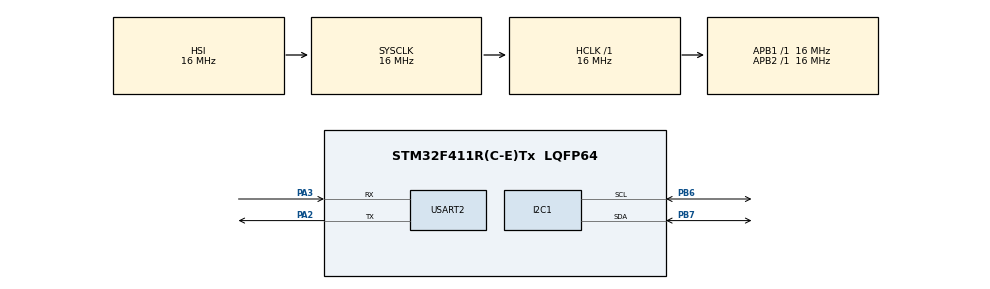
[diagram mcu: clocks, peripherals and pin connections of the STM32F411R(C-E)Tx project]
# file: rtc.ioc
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Mcu.Family=STM32F4
Mcu.Name=STM32F411R(C-E)Tx
Mcu.Package=LQFP64
NVIC.PriorityGroup=NVIC_PRIORITYGROUP_4
NVIC.USART2_IRQn=true\:0\:0\:false\:false\:true\:true\:true\:true
PA2.Mode=Asynchronous
PA2.Signal=USART2_TX
PA3.Mode=Asynchronous
PA3.Signal=USART2_RX
PB6.GPIO_Pu=GPIO_PULLUP
PB6.Mode=I2C
PB6.Signal=I2C1_SCL
PB7.GPIO_Pu=GPIO_PULLUP
PB7.Mode=I2C
PB7.Signal=I2C1_SDA
ProjectManager.HeapSize=0x200
ProjectManager.StackSize=0x400
ProjectManager.TargetToolchain=STM32CubeIDE
RCC.AHBFreq_Value=16000000
RCC.APB1Freq_Value=16000000
RCC.APB2Freq_Value=16000000
RCC.CortexFreq_Value=16000000
RCC.HSE_VALUE=25000000
RCC.HSI_VALUE=16000000
RCC.LSE_VALUE=32768
RCC.SYSCLKFreq_VALUE=16000000
RCC.VCOOutputFreq_Value=192000000
USART2.VirtualMode=VM_ASYNC
board=custom

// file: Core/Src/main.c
/* USER CODE BEGIN Header */
/**
  ******************************************************************************
  * @file           : main.c
  * @brief          : Main program body
  ******************************************************************************
  * @attention
  *
  * Copyright (c) 2024 STMicroelectronics.
  * All rights reserved.
  *
  * This software is licensed under terms that can be found in the LICENSE file
  * in the root directory of this software component.
  * If no LICENSE file comes with this software, it is provided AS-IS.
  *
  ******************************************************************************
  */
/* USER CODE END Header */
#include "main.h"

/* USER CODE BEGIN Includes */
#include "uart.h"
/* USER CODE END Includes */

I2C_HandleTypeDef hi2c1;

UART_HandleTypeDef huart2;

void SystemClock_Config(void);
static void MX_GPIO_Init(void);
static void MX_I2C1_Init(void);
static void MX_USART2_UART_Init(void);

/* USER CODE BEGIN 0 */
uint8_t BCD2Decimal(uint8_t inData) {
	uint8_t upper = inData >> 4;		//	상위 bit
	uint8_t lower = inData & 0x0f;		//	하위 bit
	return upper * 10 + lower;
}

uint8_t Decimal2BCD(uint8_t inData) {
	uint8_t upper = inData / 10;
	uint8_t lower = inData % 10;
	return upper << 4 | lower;
}

typedef struct {
	uint8_t		year;
	uint8_t		month;
	uint8_t		date;
	uint8_t		day;
	uint8_t		hour;
	uint8_t		min;
	uint8_t		sec;
}DateTime_t;

#define READ								1
#define RTC_ADD						0xD0
#define ROM_ADD					0xA0
#define MagicNumber		0x257fad1e
// 이 장치가 처음 만들어진 장치인지 아닌지 알아내는 방법
//	magicnumber를 key 값으로 사용해 같으면 처음 만들어진 장치, 다르다면 이미 기존에 사용하던 장치

//	EEPROM Map Table ▶ 왜 작성해야 하나?
#define	eeMagicNumberBase		0
#define	eeMagicNumberSize		4

void setRTC(DateTime_t inData)		{
	uint8_t txBuffer[8];
	txBuffer[7] = Decimal2BCD(inData.year);
	txBuffer[6] = Decimal2BCD(inData.month);
	txBuffer[5] = Decimal2BCD(inData.date);
	txBuffer[3] = Decimal2BCD(inData.hour);
	txBuffer[2] = Decimal2BCD(inData.min);
	txBuffer[1] = Decimal2BCD(inData.sec);
	txBuffer[0] = 0;		// 시작 Address
	HAL_I2C_Master_Transmit(&hi2c1, RTC_ADD, txBuffer, sizeof(txBuffer), 10);
}

DateTime_t getRTC()	{
	DateTime_t result;
	uint8_t	rxBuffer[7];
	uint8_t	address = 0;
	HAL_I2C_Master_Transmit(&hi2c1, RTC_ADD, &address, 1, 10);				 // 시작 Address setting
	HAL_I2C_Master_Receive(&hi2c1, RTC_ADD | READ, rxBuffer, 7, 10);
	result.year = BCD2Decimal(rxBuffer[6]);
	result.month = BCD2Decimal(rxBuffer[5]);
	result.date = BCD2Decimal(rxBuffer[4]);
	result.hour = BCD2Decimal(rxBuffer[2]);
	result.min = BCD2Decimal(rxBuffer[1]);
	result.sec = BCD2Decimal(rxBuffer[0]);
	return result;
}

//  RAM 영역의 데이터를 Write
//  0x80 ~ 0x3F(56개) 사이의 값을 가져야 함
//	Address = 0 ~ 0x37(55개)
void writeRAM(uint8_t address, uint8_t data)	{
	HAL_I2C_Mem_Write(&hi2c1, RTC_ADD, address, 1, &data, 1, 10);
	//	HAL_I2C_Mem_Write(hi2c, DevAddress, MemAddress, MemAddSize, pData, Size, Timeout)
	// , 장치 주소, 메모리 주소,
}

//  RAM 영역의 데이터를 Read
uint8_t readRAM(uint8_t address)	{
	uint8_t result;
	HAL_I2C_Mem_Read(&hi2c1, RTC_ADD, address, 1, &result, 1, 10);
	return result;
}

void writeEEPROM(uint16_t address, uint8_t data)  {
	// EEPROM 4K Byte (12bit)
	HAL_I2C_Mem_Write(&hi2c1, ROM_ADD, address, 2, &data, 1, 10);
	HAL_Delay(5);
}

uint16_t readEEPROM(uint16_t address, uint8_t data)  {
	uint16_t result;
	HAL_I2C_Mem_Read(&hi2c1, ROM_ADD, address, 2, &result, 1, 10);
	return result;
}

void write2ByteEEPROM(uint16_t address, uint16_t data) {
	HAL_I2C_Mem_Write(&hi2c1, ROM_ADD, address, 2, &data, 2, 10);
	HAL_Delay(10);
}

uint16_t read2ByteEEPROM(uint16_t address) {
	uint16_t result;
	HAL_I2C_Mem_Read(&hi2c1, ROM_ADD, address, 2, &result, 2, 10);
	return result;
}

void write4ByteEEPROM(uint16_t address, uint32_t data) {
	HAL_I2C_Mem_Write(&hi2c1, ROM_ADD, address, 2, &data, 4, 10);
	HAL_Delay(20);
}

uint32_t read4ByteEEPROM(uint16_t address) {
	uint32_t result;
	HAL_I2C_Mem_Read(&hi2c1, ROM_ADD, address, 2, &result, 4, 10);
	return result;
}
/* USER CODE END 0 */

int main(void)
{

  /* MCU Configuration--------------------------------------------------------*/

  /* Reset of all peripherals, Initializes the Flash interface and the Systick. */
  HAL_Init();

  /* Configure the system clock */
  SystemClock_Config();

  /* Initialize all configured peripherals */
  MX_GPIO_Init();
  MX_I2C1_Init();
  MX_USART2_UART_Init();
	/* USER CODE BEGIN 2 */

	initUart(&huart2);
	DateTime_t datetime;
	if(MagicNumber != read4ByteEEPROM(eeMagicNumberBase))	{
		// ▼ 초기 설정
		datetime.year		  =  24;
		datetime.month	=	3;
		datetime.date			=	29;
		datetime.hour		=	14;
		datetime.min			=	28;
		datetime.sec			=	0;
		setRTC(datetime);
		//	매직 넘버가 없다면, 매 초기화마다 이 시간으로 돌아올 것

		//	매직 넘버 기록
		write4ByteEEPROM(eeMagicNumberBase, MagicNumber);
		//	한 번 넣어주면, 두 번 다시 들어올 일이 없음
	}

	/* USER CODE END 2 */

	/* Infinite loop */
	/* USER CODE BEGIN WHILE */
	while (1) {
		datetime = getRTC();
		printf("20%02d-%02d-%02d %02d:%02d:%02d\n",
				datetime.year,
				datetime.month,
				datetime.date,
				datetime.hour,
				datetime.min,
				datetime.sec);
		HAL_Delay(1000);

    /* USER CODE END WHILE */

  }
}

void SystemClock_Config(void)
{
  RCC_OscInitTypeDef RCC_OscInitStruct = {0};
  RCC_ClkInitTypeDef RCC_ClkInitStruct = {0};

  /** Configure the main internal regulator output voltage
  */
  __HAL_RCC_PWR_CLK_ENABLE();
  __HAL_PWR_VOLTAGESCALING_CONFIG(PWR_REGULATOR_VOLTAGE_SCALE1);

  /** Initializes the RCC Oscillators according to the specified parameters
  * in the RCC_OscInitTypeDef structure.
  */
  RCC_OscInitStruct.OscillatorType = RCC_OSCILLATORTYPE_HSI;
  RCC_OscInitStruct.HSIState = RCC_HSI_ON;
  RCC_OscInitStruct.HSICalibrationValue = RCC_HSICALIBRATION_DEFAULT;
  RCC_OscInitStruct.PLL.PLLState = RCC_PLL_NONE;
  if (HAL_RCC_OscConfig(&RCC_OscInitStruct) != HAL_OK)
  {
    Error_Handler();
  }

  /** Initializes the CPU, AHB and APB buses clocks
  */
  RCC_ClkInitStruct.ClockType = RCC_CLOCKTYPE_HCLK|RCC_CLOCKTYPE_SYSCLK
                              |RCC_CLOCKTYPE_PCLK1|RCC_CLOCKTYPE_PCLK2;
  RCC_ClkInitStruct.SYSCLKSource = RCC_SYSCLKSOURCE_HSI;
  RCC_ClkInitStruct.AHBCLKDivider = RCC_SYSCLK_DIV1;
  RCC_ClkInitStruct.APB1CLKDivider = RCC_HCLK_DIV1;
  RCC_ClkInitStruct.APB2CLKDivider = RCC_HCLK_DIV1;

  if (HAL_RCC_ClockConfig(&RCC_ClkInitStruct, FLASH_LATENCY_0) != HAL_OK)
  {
    Error_Handler();
  }
}

static void MX_I2C1_Init(void)
{

  hi2c1.Instance = I2C1;
  hi2c1.Init.ClockSpeed = 100000;
  hi2c1.Init.DutyCycle = I2C_DUTYCYCLE_2;
  hi2c1.Init.OwnAddress1 = 0;
  hi2c1.Init.AddressingMode = I2C_ADDRESSINGMODE_7BIT;
  hi2c1.Init.DualAddressMode = I2C_DUALADDRESS_DISABLE;
  hi2c1.Init.OwnAddress2 = 0;
  hi2c1.Init.GeneralCallMode = I2C_GENERALCALL_DISABLE;
  hi2c1.Init.NoStretchMode = I2C_NOSTRETCH_DISABLE;
  if (HAL_I2C_Init(&hi2c1) != HAL_OK)
  {
    Error_Handler();
  }

}

static void MX_USART2_UART_Init(void)
{

  huart2.Instance = USART2;
  huart2.Init.BaudRate = 115200;
  huart2.Init.WordLength = UART_WORDLENGTH_8B;
  huart2.Init.StopBits = UART_STOPBITS_1;
  huart2.Init.Parity = UART_PARITY_NONE;
  huart2.Init.Mode = UART_MODE_TX_RX;
  huart2.Init.HwFlowCtl = UART_HWCONTROL_NONE;
  huart2.Init.OverSampling = UART_OVERSAMPLING_16;
  if (HAL_UART_Init(&huart2) != HAL_OK)
  {
    Error_Handler();
  }

}

static void MX_GPIO_Init(void)
{

  /* GPIO Ports Clock Enable */
  __HAL_RCC_GPIOA_CLK_ENABLE();
  __HAL_RCC_GPIOB_CLK_ENABLE();

}

void Error_Handler(void)
{
  __disable_irq();
  while (1)
  {
  }
}
